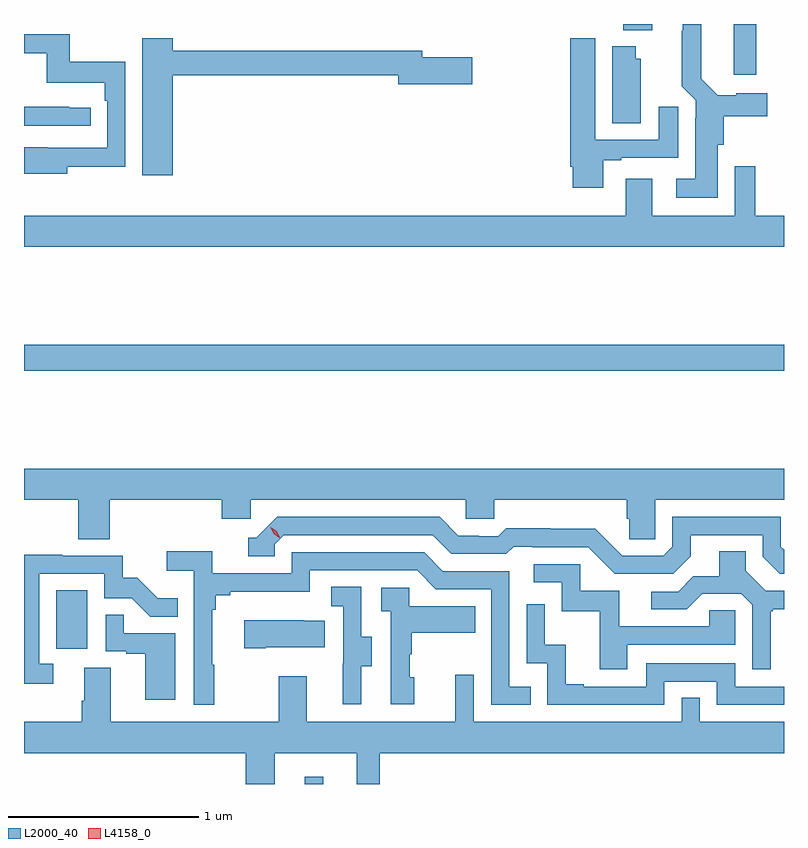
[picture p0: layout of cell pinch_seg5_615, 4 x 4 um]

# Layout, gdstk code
import gdstk
lib = gdstk.Library(unit=1e-6, precision=1e-09)
def R(c, l, rs):  # rectangles x0, y0, x1, y1
    for r in rs: c.add(gdstk.rectangle(r[:2], r[2:], *l))
def P(c, l, *ps):  # polygons
    for p in ps: c.add(gdstk.Polygon(p, *l))
L2000_40 = (2000, 40)
L4158_0 = (4158, 0)

pinch_seg5_615 = lib.new_cell('pinch_seg5_615')
R(pinch_seg5_615, L2000_40, [(1047.08,867.253,1047.178,867.292), (1045.772,867.966,1045.936,868.273), (1045.603,869.428,1049.603,869.564), (1049.339,870.987,1049.457,871.253), (1048.757,871.22,1048.909,871.253)])
P(pinch_seg5_615, L2000_40, [(1049.254,870.618),(1049.285,870.618),(1049.285,870.767),(1049.515,870.767),(1049.515,870.889),(1049.352,870.889),(1049.352,870.877),(1049.253,870.877),(1049.167,870.964),(1049.167,871.253),(1049.069,871.253),(1049.069,871.217),(1049.065,871.217),(1049.065,870.926),(1049.139,870.852),(1049.139,870.758),(1049.135,870.758),(1049.135,870.439),(1049.037,870.439),(1049.037,870.338),(1049.254,870.338)],
  [(1045.831,870.502),(1046.136,870.502),(1046.136,871.054),(1045.843,871.054),(1045.843,871.2),(1045.603,871.2),(1045.603,871.099),(1045.722,871.099),(1045.722,870.944),(1046.027,870.944),(1046.027,870.848),(1046.04,870.848),(1046.04,870.603),(1045.727,870.603),(1045.727,870.604),(1045.603,870.604),(1045.603,870.464),(1045.831,870.464)],
  [(1046.386,870.982),(1047.572,870.982),(1047.572,870.935),(1047.961,870.935),(1047.961,871.077),(1047.7,871.077),(1047.7,871.111),(1046.386,871.111),(1046.386,871.177),(1046.225,871.177),(1046.225,870.456),(1046.386,870.456)],
  [(1048.651,870.537),(1048.747,870.537),(1048.747,870.549),(1049.047,870.549),(1049.047,870.817),(1048.943,870.817),(1048.943,870.645),(1048.609,870.645),(1048.609,871.177),(1048.478,871.177),(1048.478,870.502),(1048.49,870.502),(1048.49,870.39),(1048.651,870.39)],
  [(1048.849,871.071),(1048.822,871.071),(1048.822,871.135),(1048.7,871.135),(1048.7,870.73),(1048.849,870.73)],
  [(1045.954,870.813),(1045.841,870.813),(1045.841,870.818),(1045.603,870.818),(1045.603,870.717),(1045.954,870.717)],
  [(1049.603,870.244),(1049.452,870.244),(1049.452,870.505),(1049.343,870.505),(1049.343,870.244),(1048.909,870.244),(1048.909,870.439),(1048.769,870.439),(1048.769,870.244),(1045.603,870.244),(1045.603,870.08),(1049.603,870.08)],
  [(1046.054,868.748),(1046.645,868.748),(1046.645,868.65),(1046.796,868.65),(1046.796,868.748),(1047.927,868.748),(1047.927,868.65),(1048.077,868.65),(1048.077,868.748),(1048.775,868.748),(1048.775,868.65),(1048.789,868.65),(1048.789,868.54),(1048.926,868.54),(1048.926,868.748),(1049.603,868.748),(1049.603,868.912),(1045.603,868.912),(1045.603,868.748),(1045.889,868.748),(1045.889,868.54),(1046.054,868.54)],
  [(1049.113,868.453),(1049.113,868.563),(1049.49,868.563),(1049.49,868.449),(1049.58,868.359),(1049.603,868.359),(1049.603,868.486),(1049.586,868.503),(1049.586,868.659),(1049.016,868.659),(1049.016,868.503),(1048.968,868.455),(1048.752,868.455),(1048.61,868.597),(1048.374,868.597),(1048.374,868.6),(1048.141,868.6),(1048.099,868.557),(1047.996,868.557),(1047.996,868.56),(1047.889,868.56),(1047.79,868.659),(1046.937,868.659),(1046.826,868.548),(1046.783,868.548),(1046.783,868.452),(1046.922,868.452),(1046.922,868.515),(1046.97,868.563),(1047.753,868.563),(1047.852,868.464),(1048.141,868.464),(1048.18,868.503),(1048.279,868.503),(1048.279,868.5),(1048.572,868.5),(1048.713,868.359),(1049.019,868.359)],
  [(1049.533,868.161),(1049.545,868.161),(1049.545,868.172),(1049.603,868.172),(1049.603,868.269),(1049.508,868.269),(1049.401,868.376),(1049.401,868.478),(1049.261,868.478),(1049.261,868.346),(1049.126,868.346),(1049.046,868.266),(1048.905,868.266),(1048.905,868.173),(1049.092,868.173),(1049.173,868.254),(1049.379,868.254),(1049.436,868.197),(1049.436,867.858),(1049.533,867.858)],
  [(1046.605,867.881),(1046.593,867.881),(1046.593,868.169),(1046.612,868.169),(1046.612,868.246),(1046.689,868.246),(1046.689,868.265),(1047.108,868.265),(1047.108,868.377),(1047.672,868.377),(1047.771,868.278),(1048.062,868.278),(1048.062,867.669),(1048.271,867.669),(1048.271,867.765),(1048.158,867.765),(1048.158,868.374),(1047.808,868.374),(1047.709,868.473),(1047.012,868.473),(1047.012,868.362),(1046.594,868.362),(1046.594,868.478),(1046.355,868.478),(1046.355,868.376),(1046.496,868.376),(1046.496,867.669),(1046.605,867.669)],
  [(1045.756,867.885),(1045.683,867.885),(1045.683,868.359),(1046.025,868.359),(1046.025,868.23),(1046.169,868.23),(1046.267,868.132),(1046.411,868.132),(1046.411,868.231),(1046.307,868.231),(1046.2,868.338),(1046.124,868.338),(1046.124,868.455),(1045.805,868.455),(1045.805,868.46),(1045.603,868.46),(1045.603,867.78),(1045.756,867.78)],
  [(1048.777,867.987),(1049.346,867.987),(1049.346,868.167),(1049.209,868.167),(1049.209,868.083),(1048.735,868.083),(1048.735,868.269),(1048.53,868.269),(1048.53,868.41),(1048.287,868.41),(1048.287,868.314),(1048.434,868.314),(1048.434,868.161),(1048.633,868.161),(1048.633,867.858),(1048.777,867.858)],
  [(1047.379,867.874),(1047.433,867.874),(1047.433,868.029),(1047.378,868.029),(1047.378,868.292),(1047.219,868.292),(1047.219,868.189),(1047.282,868.189),(1047.282,867.885),(1047.281,867.885),(1047.281,867.672),(1047.379,867.672)],
  [(1047.658,867.816),(1047.633,867.816),(1047.633,867.935),(1047.643,867.935),(1047.643,868.049),(1047.977,868.049),(1047.977,868.189),(1047.63,868.189),(1047.63,868.287),(1047.483,868.287),(1047.483,868.163),(1047.534,868.163),(1047.534,867.672),(1047.658,867.672)],
  [(1048.974,867.792),(1049.25,867.792),(1049.25,867.669),(1049.603,867.669),(1049.603,867.765),(1049.346,867.765),(1049.346,867.888),(1048.878,867.888),(1048.878,867.765),(1048.549,867.765),(1048.549,867.778),(1048.454,867.778),(1048.454,867.986),(1048.344,867.986),(1048.344,868.198),(1048.248,868.198),(1048.248,867.888),(1048.356,867.888),(1048.356,867.669),(1048.974,867.669)],
  [(1046.398,868.047),(1046.129,868.047),(1046.129,868.145),(1046.034,868.145),(1046.034,867.951),(1046.141,867.951),(1046.141,867.939),(1046.24,867.939),(1046.24,867.696),(1046.398,867.696)],
  [(1046.875,867.974),(1047.185,867.974),(1047.185,868.111),(1047.077,868.111),(1047.077,868.114),(1046.763,868.114),(1046.763,867.967),(1046.875,867.967)],
  [(1046.923,867.416),(1047.353,867.416),(1047.353,867.253),(1047.475,867.253),(1047.475,867.416),(1049.603,867.416),(1049.603,867.58),(1049.16,867.58),(1049.16,867.707),(1049.064,867.707),(1049.064,867.58),(1047.969,867.58),(1047.969,867.829),(1047.872,867.829),(1047.872,867.58),(1047.091,867.58),(1047.091,867.82),(1046.944,867.82),(1046.944,867.58),(1046.059,867.58),(1046.059,867.866),(1045.919,867.866),(1045.919,867.692),(1045.907,867.692),(1045.907,867.58),(1045.603,867.58),(1045.603,867.416),(1046.771,867.416),(1046.771,867.253),(1046.923,867.253)])
P(pinch_seg5_615, L4158_0, [(1046.947,868.55),(1046.917,868.57),(1046.901,868.603),(1046.901,868.604),(1046.902,868.604),(1046.932,868.584),(1046.948,868.55),(1046.948,868.55)])

lib.write_gds('pinch_seg5_615.gds')
